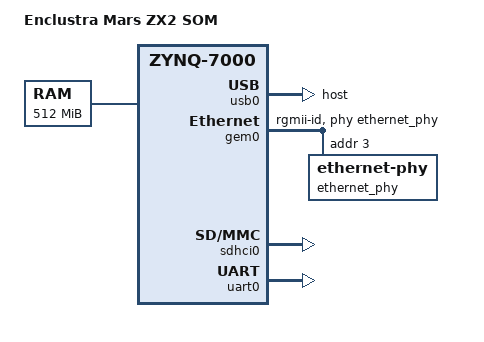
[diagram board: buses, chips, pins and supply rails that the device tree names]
/*
 *  Copyright (C) 2011 - 2014 Xilinx
 *  Copyright (C) 2012 National Instruments Corp.
 *
 * This software is licensed under the terms of the GNU General Public
 * License version 2, as published by the Free Software Foundation, and
 * may be copied, distributed, and modified under those terms.
 *
 * This program is distributed in the hope that it will be useful,
 * but WITHOUT ANY WARRANTY; without even the implied warranty of
 * MERCHANTABILITY or FITNESS FOR A PARTICULAR PURPOSE.  See the
 * GNU General Public License for more details.
 */
/dts-v1/;
/include/ "zynq-7000.dtsi"
/include/ "zynq-enclustra-qspi-parts.dtsi"

/ {
	model = "Enclustra Mars ZX2 SOM";
	compatible = "xlnx,zynq-7000";

	aliases {
		ethernet0 = &gem0;
		serial0 = &uart0;
	};

	memory {
		device_type = "memory";
		reg = <0x0 0x20000000>;
	};

	chosen {
		bootargs = "console=ttyPS0,115200 root=/dev/mmcblk0p2 rootwait rw earlyprintk";
		linux,stdout-path = "/amba/serial@e0000000";
	};
};

&usb0 {
	status = "okay";
	dr_mode = "host";
	phy_type = "ulpi";
};

&gem0 {
	status = "okay";
	phy-mode = "rgmii-id";
	phy-handle = <&ethernet_phy>;

	ethernet_phy: ethernet-phy@3 {
		reg = <3>;
	};
};

&sdhci0 {
	status = "okay";
	broken-cd = <0x1>;
	wp-inverted = <0x1>;
};

&uart0 {
	status = "okay";
};
